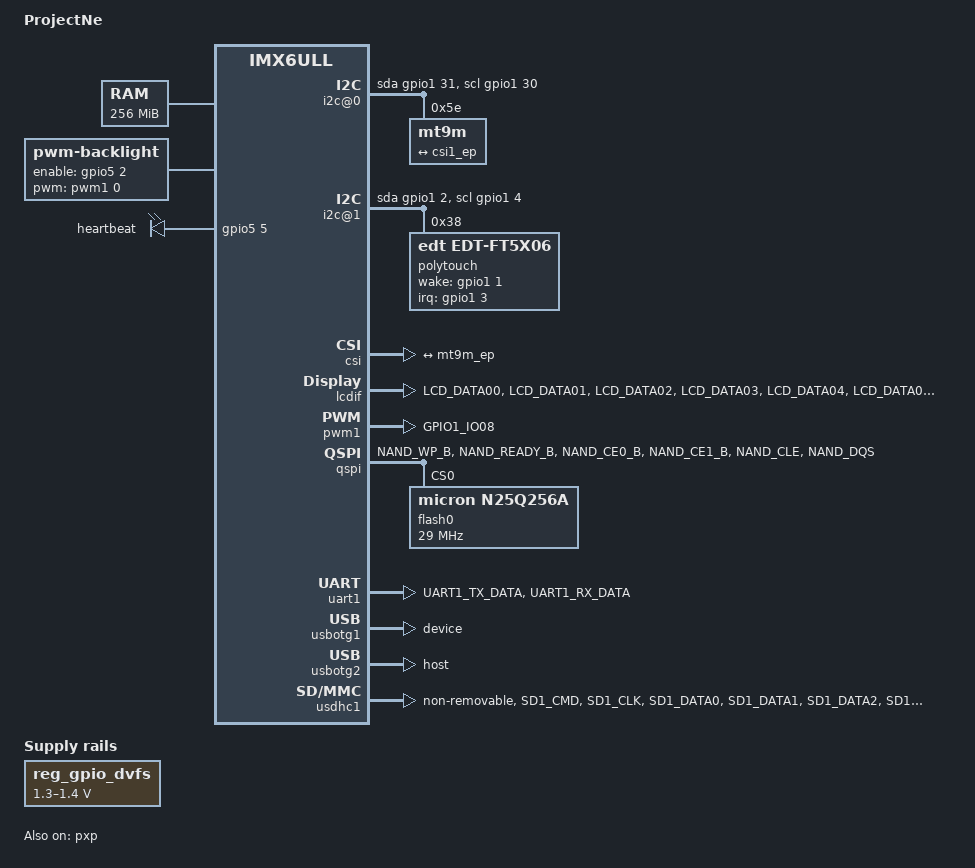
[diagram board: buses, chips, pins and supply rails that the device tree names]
/*
 * Copyright (C) 2016 Freescale Semiconductor, Inc.
 *
 * This program is free software; you can redistribute it and/or modify
 * it under the terms of the GNU General Public License version 2 as
 * published by the Free Software Foundation.
 */

/dts-v1/;

#include <dt-bindings/input/input.h>
#include <dt-bindings/pwm/pwm.h>
#include "imx6ull.dtsi"

/ {
	model = "ProjectNe";
	compatible = "fsl,imx6ull-14x14-evk", "fsl,imx6ull";

	chosen {
		stdout-path = &uart1;
	};

	memory {
		reg = <0x80000000 0x10000000>;
	};

	reserved-memory {
		#address-cells = <1>;
		#size-cells = <1>;
		ranges;

		linux,cma {
			compatible = "shared-dma-pool";
			reusable;
			size = <0x14000000>;
			linux,cma-default;
		};
	};

	backlight {
		compatible = "pwm-backlight";
		pwms = <&pwm1 0 100000 PWM_POLARITY_INVERTED>;
		brightness-levels = <146 149 155 167 191 212 236 255>;
		default-brightness-level = <7>;
		enable-gpios = <&gpio5 2 0>;
		status = "okay";
	};

	pxp_v4l2 {
		compatible = "fsl,imx6ul-pxp-v4l2", "fsl,imx6sx-pxp-v4l2", "fsl,imx6sl-pxp-v4l2";
		status = "okay";
	};

	regulators {
		compatible = "simple-bus";
		#address-cells = <1>;
		#size-cells = <0>;

		reg_gpio_dvfs: regulator-gpio {
			compatible = "regulator-gpio";
			pinctrl-names = "default";
			pinctrl-0 = <&pinctrl_dvfs>;
			regulator-min-microvolt = <1300000>;
			regulator-max-microvolt = <1400000>;
			regulator-name = "gpio_dvfs";
			regulator-type = "voltage";
			gpios = <&gpio5 3 GPIO_ACTIVE_HIGH>;
			states = <1300000 0x1 1400000 0x0>;
		};
	};

	i2c@0 {
		compatible = "i2c-gpio";
		gpios = <&gpio1 31 0
			 &gpio1 30 0>;
		#address-cells = <1>;
		#size-cells = <0>;

		//should be 5d, use another address allowing userspace control
		mt9m: mt9m@5e {
			compatible = "mt9m";
			reg = <0x5e>;
			pinctrl-names = "default";
			pinctrl-0 = <&pinctrl_csi1>;
			clocks = <&clks IMX6UL_CLK_CSI>;
			clock-names = "csi_mclk";
			csi_id = <0>;
			mclk = <20000000>;
			mclk_source = <0>;
			status = "okay";
			port {
				mt9m_ep: endpoint {
					remote-endpoint = <&csi1_ep>;
				};
			};
		};
	};

	i2c@1 {
		compatible = "i2c-gpio";
		gpios = <&gpio1 2 0
			 &gpio1 4 0>;
		#address-cells = <1>;
		#size-cells = <0>;

		polytouch: edt-ft5x06@38 {
			// reqd params
			compatible = "edt,edt-ft5x06";
			reg = <0x38>;
			interrupt-parent = <&gpio1>;
			interrupts = <3 IRQ_TYPE_EDGE_FALLING>;
			wake-gpios = <&gpio1 1 0>;
			// optional params
			//pinctrl-names = "default";
			//pinctrl-0 = <&touchscreen_ft5x06_pins>; // MX6QDL_PAD_GPIO_5__GPIO1_IO05
		};
	};

	leds {
		compatible = "gpio-leds";
		pinctrl-names = "default";
		pinctrl-0 = <&pinctrl_leds>;

		heartbeat {
			label = "heartbeat";
			gpios = <&gpio5 5 GPIO_ACTIVE_HIGH>;
			linux,default-trigger = "heartbeat";
		};
	};
};

&cpu0 {
	arm-supply = <&reg_arm>;
	soc-supply = <&reg_soc>;
	dc-supply = <&reg_gpio_dvfs>;
};

&clks {
	assigned-clocks = <&clks IMX6UL_CLK_PLL4_AUDIO_DIV>;
	assigned-clock-rates = <786432000>;
};

&csi {
	status = "okay";

	port {
		csi1_ep: endpoint {
			remote-endpoint = <&mt9m_ep>;
		};
	};
};

&fec1 {
	status = "disabled";
};

&fec2 {
	status = "disabled";
};

&flexcan1 {
	status = "disabled";
};

&flexcan2 {
	status = "disabled";
};

&gpc {
	fsl,cpu_pupscr_sw2iso = <0x1>;
	fsl,cpu_pupscr_sw = <0x0>;
	fsl,cpu_pdnscr_iso2sw = <0x1>;
	fsl,cpu_pdnscr_iso = <0x1>;
	fsl,ldo-bypass = <0>; /* DCDC, ldo-enable */
};

&i2c1 {
	status = "disabled";
};

&i2c2 {
	status = "disabled";
};

&iomuxc {
	pinctrl-names = "default";
	pinctrl-0 = <&pinctrl_hog_1>;
	imx6ul-evk {
		pinctrl_hog_1: hoggrp-1 {
			fsl,pins = <
				MX6UL_PAD_UART1_RTS_B__GPIO1_IO19	0x17059 /* SD1 CD */
				MX6UL_PAD_GPIO1_IO05__USDHC1_VSELECT	0x17059 /* SD1 VSELECT */
				MX6UL_PAD_UART5_TX_DATA__GPIO1_IO30	0x1b8b0 /* SCL */
				MX6UL_PAD_UART5_RX_DATA__GPIO1_IO31	0x1b8b0 /* SDA */
				MX6UL_PAD_GPIO1_IO01__GPIO1_IO01 0x1f8b0 /* WAKE */
				MX6UL_PAD_GPIO1_IO02__GPIO1_IO02 0x1f8b0 /* SDA */
				MX6UL_PAD_GPIO1_IO03__GPIO1_IO03 0x1b0b0 /* INT */
				MX6UL_PAD_GPIO1_IO04__GPIO1_IO04 0x1f8b0 /* SCL */
			>;
		};

		pinctrl_csi1: csi1grp {
			fsl,pins = <
				MX6UL_PAD_CSI_MCLK__CSI_MCLK		0x1b088
				MX6UL_PAD_CSI_PIXCLK__CSI_PIXCLK	0x1b088
				MX6UL_PAD_CSI_VSYNC__CSI_VSYNC		0x1b088
				MX6UL_PAD_CSI_HSYNC__CSI_HSYNC		0x1b088
				MX6UL_PAD_CSI_DATA00__CSI_DATA02	0x1b088
				MX6UL_PAD_CSI_DATA01__CSI_DATA03	0x1b088
				MX6UL_PAD_CSI_DATA02__CSI_DATA04	0x1b088
				MX6UL_PAD_CSI_DATA03__CSI_DATA05	0x1b088
				MX6UL_PAD_CSI_DATA04__CSI_DATA06	0x1b088
				MX6UL_PAD_CSI_DATA05__CSI_DATA07	0x1b088
				MX6UL_PAD_CSI_DATA06__CSI_DATA08	0x1b088
				MX6UL_PAD_CSI_DATA07__CSI_DATA09	0x1b088
			>;
		};

		pinctrl_lcdif_dat: lcdifdatgrp {
			fsl,pins = <
				MX6UL_PAD_LCD_DATA00__LCDIF_DATA00  0x79
				MX6UL_PAD_LCD_DATA01__LCDIF_DATA01  0x79
				MX6UL_PAD_LCD_DATA02__LCDIF_DATA02  0x79
				MX6UL_PAD_LCD_DATA03__LCDIF_DATA03  0x79
				MX6UL_PAD_LCD_DATA04__LCDIF_DATA04  0x79
				MX6UL_PAD_LCD_DATA05__LCDIF_DATA05  0x79
				MX6UL_PAD_LCD_DATA06__LCDIF_DATA06  0x79
				MX6UL_PAD_LCD_DATA07__LCDIF_DATA07  0x79
				MX6UL_PAD_LCD_DATA08__LCDIF_DATA08  0x79
				MX6UL_PAD_LCD_DATA09__LCDIF_DATA09  0x79
				MX6UL_PAD_LCD_DATA10__LCDIF_DATA10  0x79
				MX6UL_PAD_LCD_DATA11__LCDIF_DATA11  0x79
				MX6UL_PAD_LCD_DATA12__LCDIF_DATA12  0x79
				MX6UL_PAD_LCD_DATA13__LCDIF_DATA13  0x79
				MX6UL_PAD_LCD_DATA14__LCDIF_DATA14  0x79
				MX6UL_PAD_LCD_DATA15__LCDIF_DATA15  0x79
				MX6UL_PAD_LCD_DATA16__LCDIF_DATA16  0x79
				MX6UL_PAD_LCD_DATA17__LCDIF_DATA17  0x79
				MX6UL_PAD_LCD_DATA18__LCDIF_DATA18  0x79
				MX6UL_PAD_LCD_DATA19__LCDIF_DATA19  0x79
				MX6UL_PAD_LCD_DATA20__LCDIF_DATA20  0x79
				MX6UL_PAD_LCD_DATA21__LCDIF_DATA21  0x79
				MX6UL_PAD_LCD_DATA22__LCDIF_DATA22  0x79
				MX6UL_PAD_LCD_DATA23__LCDIF_DATA23  0x79
			>;
		};

		pinctrl_lcdif_ctrl: lcdifctrlgrp {
			fsl,pins = <
				MX6UL_PAD_LCD_CLK__LCDIF_CLK	    0x79
				MX6UL_PAD_LCD_ENABLE__LCDIF_ENABLE  0x79
				/*MX6UL_PAD_LCD_HSYNC__LCDIF_HSYNC    0x79
				MX6UL_PAD_LCD_VSYNC__LCDIF_VSYNC    0x79*/
			>;
		};

		pinctrl_qspi: qspigrp {
			fsl,pins = <
				MX6UL_PAD_NAND_WP_B__QSPI_A_SCLK      0x70a1
				MX6UL_PAD_NAND_READY_B__QSPI_A_DATA00 0x70a1
				MX6UL_PAD_NAND_CE0_B__QSPI_A_DATA01   0x70a1
				MX6UL_PAD_NAND_CE1_B__QSPI_A_DATA02   0x70a1
				MX6UL_PAD_NAND_CLE__QSPI_A_DATA03     0x70a1
				MX6UL_PAD_NAND_DQS__QSPI_A_SS0_B      0x70a1
			>;
		};

		pinctrl_sai2: sai2grp {
			fsl,pins = <
				MX6UL_PAD_JTAG_TDI__SAI2_TX_BCLK	0x17088
				MX6UL_PAD_JTAG_TDO__SAI2_TX_SYNC	0x17088
				MX6UL_PAD_JTAG_TRST_B__SAI2_TX_DATA	0x11088
				MX6UL_PAD_JTAG_TCK__SAI2_RX_DATA	0x11088
				MX6UL_PAD_JTAG_TMS__SAI2_MCLK		0x17088
			>;
		};

		pinctrl_uart1: uart1grp {
			fsl,pins = <
				MX6UL_PAD_UART1_TX_DATA__UART1_DCE_TX 0x1b0b1
				MX6UL_PAD_UART1_RX_DATA__UART1_DCE_RX 0x1b0b1
			>;
		};

		pinctrl_usdhc1: usdhc1grp {
			fsl,pins = <
				MX6UL_PAD_SD1_CMD__USDHC1_CMD     0x17059
				MX6UL_PAD_SD1_CLK__USDHC1_CLK     0x10071
				MX6UL_PAD_SD1_DATA0__USDHC1_DATA0 0x17059
				MX6UL_PAD_SD1_DATA1__USDHC1_DATA1 0x17059
				MX6UL_PAD_SD1_DATA2__USDHC1_DATA2 0x17059
				MX6UL_PAD_SD1_DATA3__USDHC1_DATA3 0x17059
			>;
		};

		pinctrl_usdhc1_100mhz: usdhc1grp100mhz {
			fsl,pins = <
				MX6UL_PAD_SD1_CMD__USDHC1_CMD     0x170b9
				MX6UL_PAD_SD1_CLK__USDHC1_CLK     0x100b9
				MX6UL_PAD_SD1_DATA0__USDHC1_DATA0 0x170b9
				MX6UL_PAD_SD1_DATA1__USDHC1_DATA1 0x170b9
				MX6UL_PAD_SD1_DATA2__USDHC1_DATA2 0x170b9
				MX6UL_PAD_SD1_DATA3__USDHC1_DATA3 0x170b9
			>;
		};

		pinctrl_usdhc1_200mhz: usdhc1grp200mhz {
			fsl,pins = <
				MX6UL_PAD_SD1_CMD__USDHC1_CMD     0x170f9
				MX6UL_PAD_SD1_CLK__USDHC1_CLK     0x100f9
				MX6UL_PAD_SD1_DATA0__USDHC1_DATA0 0x170f9
				MX6UL_PAD_SD1_DATA1__USDHC1_DATA1 0x170f9
				MX6UL_PAD_SD1_DATA2__USDHC1_DATA2 0x170f9
				MX6UL_PAD_SD1_DATA3__USDHC1_DATA3 0x170f9
			>;
		};

		pinctrl_usdhc2: usdhc2grp {
			fsl,pins = <
				MX6UL_PAD_NAND_RE_B__USDHC2_CLK     0x10069
				MX6UL_PAD_NAND_WE_B__USDHC2_CMD     0x17059
				MX6UL_PAD_NAND_DATA00__USDHC2_DATA0 0x17059
				MX6UL_PAD_NAND_DATA01__USDHC2_DATA1 0x17059
				MX6UL_PAD_NAND_DATA02__USDHC2_DATA2 0x17059
				MX6UL_PAD_NAND_DATA03__USDHC2_DATA3 0x17059
			>;
		};

		pinctrl_usdhc2_8bit: usdhc2grp_8bit {
			fsl,pins = <
				MX6UL_PAD_NAND_RE_B__USDHC2_CLK     0x10069
				MX6UL_PAD_NAND_WE_B__USDHC2_CMD     0x17059
				MX6UL_PAD_NAND_DATA00__USDHC2_DATA0 0x17059
				MX6UL_PAD_NAND_DATA01__USDHC2_DATA1 0x17059
				MX6UL_PAD_NAND_DATA02__USDHC2_DATA2 0x17059
				MX6UL_PAD_NAND_DATA03__USDHC2_DATA3 0x17059
				MX6UL_PAD_NAND_DATA04__USDHC2_DATA4 0x17059
				MX6UL_PAD_NAND_DATA05__USDHC2_DATA5 0x17059
				MX6UL_PAD_NAND_DATA06__USDHC2_DATA6 0x17059
				MX6UL_PAD_NAND_DATA07__USDHC2_DATA7 0x17059
			>;
		};

		pinctrl_usdhc2_8bit_100mhz: usdhc2grp_8bit_100mhz {
			fsl,pins = <
				MX6UL_PAD_NAND_RE_B__USDHC2_CLK     0x100b9
				MX6UL_PAD_NAND_WE_B__USDHC2_CMD     0x170b9
				MX6UL_PAD_NAND_DATA00__USDHC2_DATA0 0x170b9
				MX6UL_PAD_NAND_DATA01__USDHC2_DATA1 0x170b9
				MX6UL_PAD_NAND_DATA02__USDHC2_DATA2 0x170b9
				MX6UL_PAD_NAND_DATA03__USDHC2_DATA3 0x170b9
				MX6UL_PAD_NAND_DATA04__USDHC2_DATA4 0x170b9
				MX6UL_PAD_NAND_DATA05__USDHC2_DATA5 0x170b9
				MX6UL_PAD_NAND_DATA06__USDHC2_DATA6 0x170b9
				MX6UL_PAD_NAND_DATA07__USDHC2_DATA7 0x170b9
			>;
		};

		pinctrl_usdhc2_8bit_200mhz: usdhc2grp_8bit_200mhz {
			fsl,pins = <
				MX6UL_PAD_NAND_RE_B__USDHC2_CLK     0x100f9
				MX6UL_PAD_NAND_WE_B__USDHC2_CMD     0x170f9
				MX6UL_PAD_NAND_DATA00__USDHC2_DATA0 0x170f9
				MX6UL_PAD_NAND_DATA01__USDHC2_DATA1 0x170f9
				MX6UL_PAD_NAND_DATA02__USDHC2_DATA2 0x170f9
				MX6UL_PAD_NAND_DATA03__USDHC2_DATA3 0x170f9
				MX6UL_PAD_NAND_DATA04__USDHC2_DATA4 0x170f9
				MX6UL_PAD_NAND_DATA05__USDHC2_DATA5 0x170f9
				MX6UL_PAD_NAND_DATA06__USDHC2_DATA6 0x170f9
				MX6UL_PAD_NAND_DATA07__USDHC2_DATA7 0x170f9
			>;
		};

		pinctrl_pwm1: pwm1grp {
			fsl,pins = <
				MX6UL_PAD_GPIO1_IO08__PWM1_OUT   0x110b0
			>;
		};

		pinctrl_wdog: wdoggrp {
			fsl,pins = <
				MX6UL_PAD_LCD_RESET__WDOG1_WDOG_ANY    0x30b0
			>;
		};
	};
};

&iomuxc_snvs {
	pinctrl-names = "default_snvs";
    pinctrl-0 = <&pinctrl_hog_2>;
    imx6ul-evk {
		pinctrl_hog_2: hoggrp-2 {
                        fsl,pins = <
                                MX6ULL_PAD_SNVS_TAMPER0__GPIO5_IO00      0x80000000
								MX6UL_PAD_SNVS_TAMPER2__GPIO5_IO02  0x17059 /* BL EN */
                        >;
                };

		pinctrl_dvfs: dvfsgrp {
                        fsl,pins = <
                                MX6ULL_PAD_SNVS_TAMPER3__GPIO5_IO03      0x79
                        >;
                };

		pinctrl_leds: ledsgrp {
			fsl,pins = <
				/* MX6UL_PAD_GPIO1_IO06__GPIO1_IO06 0x17059 */ /* BL */
				MX6UL_PAD_SNVS_TAMPER5__GPIO5_IO05 0x17059 /* HEARTBEAT */
			>;
		};
	};
};


&lcdif {
	pinctrl-names = "default";
	pinctrl-0 = <&pinctrl_lcdif_dat
		     &pinctrl_lcdif_ctrl>;
	display = <&display0>;
	status = "okay";

	display0: display {
		bits-per-pixel = <24>;
		bus-width = <24>;

		display-timings {
			native-mode = <&timing0>;
			timing0: timing0 {
				clock-frequency = <25000000>;
				hactive = <640>;
				vactive = <480>;
				hfront-porch = <16>;
				hback-porch = <134>;
				hsync-len = <10>;
				vback-porch = <11>;
				vfront-porch = <32>;
				vsync-len = <2>;
				hsync-active = <0>;
				vsync-active = <0>;
				de-active = <1>;
				pixelclk-active = <0>;
			};
		};
	};
};

&pwm1 {
	pinctrl-names = "default";
	pinctrl-0 = <&pinctrl_pwm1>;
	status = "okay";
};

&pxp {
	status = "okay";
};

&qspi {
	pinctrl-names = "default";
	pinctrl-0 = <&pinctrl_qspi>;
	status = "okay";
	ddrsmp=<0>;

	flash0: n25q256a@0 {
		#address-cells = <1>;
		#size-cells = <1>;
		compatible = "micron,n25q256a";
		spi-max-frequency = <29000000>;
		spi-nor,ddr-quad-read-dummy = <6>;
		reg = <0>;
	};
};

&sai2 {
	pinctrl-names = "default";
	pinctrl-0 = <&pinctrl_sai2>;

	assigned-clocks = <&clks IMX6UL_CLK_SAI2_SEL>,
			  <&clks IMX6UL_CLK_SAI2>;
	assigned-clock-parents = <&clks IMX6UL_CLK_PLL4_AUDIO_DIV>;
	assigned-clock-rates = <0>, <12288000>;

	status = "disabled";
};

&tsc {
	status = "disabled";
};

&uart1 {
	pinctrl-names = "default";
	pinctrl-0 = <&pinctrl_uart1>;
	status = "okay";
};

&uart2 {
	status = "disabled";
};

&usbotg1 {
	dr_mode = "device";
	disable-over-current;
	status = "okay";
};

&usbotg2 {
	dr_mode = "host";
	disable-over-current;
	status = "okay";
};

&usbphy1 {
	tx-d-cal = <0x5>;
};

&usbphy2 {
	tx-d-cal = <0x5>;
};

&usdhc1 {
	pinctrl-names = "default", "state_100mhz", "state_200mhz";
	pinctrl-0 = <&pinctrl_usdhc1>;
	pinctrl-1 = <&pinctrl_usdhc1_100mhz>;
	pinctrl-2 = <&pinctrl_usdhc1_200mhz>;
	keep-power-in-suspend;
	non-removable;
	enable-sdio-wakeup;
	status = "okay";
};

&usdhc2 {
	pinctrl-names = "default";
	pinctrl-0 = <&pinctrl_usdhc2>;
	non-removable;
	status = "disabled";
};

&wdog1 {
	pinctrl-names = "default";
	pinctrl-0 = <&pinctrl_wdog>;
	fsl,wdog_b;
};
